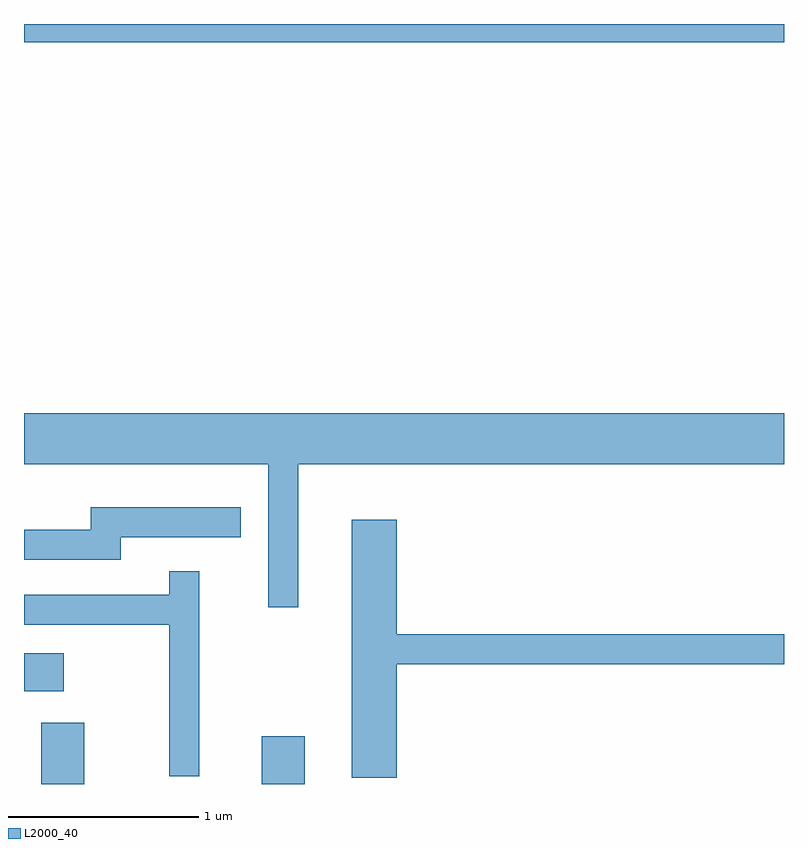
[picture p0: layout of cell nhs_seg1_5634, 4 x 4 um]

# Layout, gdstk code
import gdstk
lib = gdstk.Library(unit=1e-6, precision=1e-09)
def R(c, l, rs):  # rectangles x0, y0, x1, y1
    for r in rs: c.add(gdstk.rectangle(r[:2], r[2:], *l))
def P(c, l, *ps):  # polygons
    for p in ps: c.add(gdstk.Polygon(p, *l))
L2000_40 = (2000, 40)

nhs_seg1_5634 = lib.new_cell('nhs_seg1_5634')
R(nhs_seg1_5634, L2000_40, [(355.701,855.712,355.929,856.034), (356.861,855.712,357.089,855.964), (355.611,856.201,355.819,856.399), (355.611,859.616,359.611,859.712)])
P(nhs_seg1_5634, L2000_40, [(357.054,857.396),(359.611,857.396),(359.611,857.664),(355.611,857.664),(355.611,857.396),(356.896,857.396),(356.896,856.643),(357.054,856.643)],
  [(356.119,857.011),(356.753,857.011),(356.753,857.169),(355.961,857.169),(355.961,857.049),(355.611,857.049),(355.611,856.891),(356.119,856.891)],
  [(357.574,856.341),(359.611,856.341),(359.611,856.499),(357.574,856.499),(357.574,857.104),(357.336,857.104),(357.336,855.746),(357.574,855.746)],
  [(356.534,856.833),(356.376,856.833),(356.376,856.709),(355.611,856.709),(355.611,856.551),(356.376,856.551),(356.376,855.753),(356.534,855.753)])

lib.write_gds('nhs_seg1_5634.gds')
